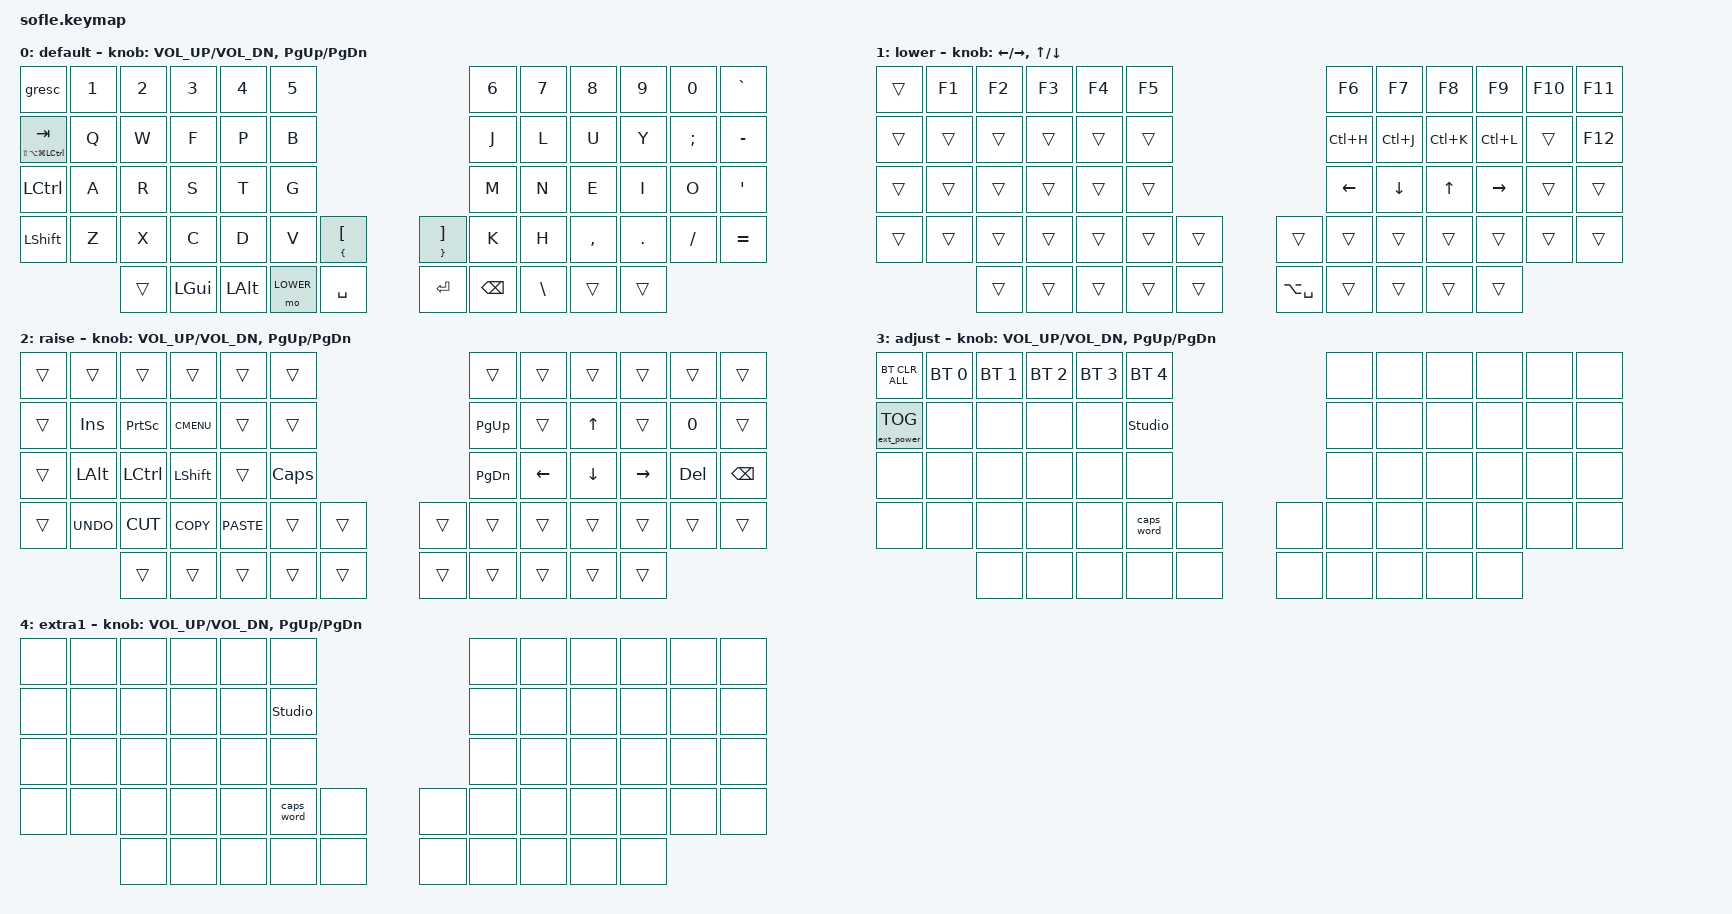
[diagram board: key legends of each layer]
/*
 * Copyright (c) 2020 The ZMK Contributors
 *
 * SPDX-License-Identifier: MIT
 */

#include <behaviors.dtsi>
#include <dt-bindings/zmk/bt.h>
#include <dt-bindings/zmk/ext_power.h>
#include <dt-bindings/zmk/keys.h>

#define BASE 0
#define LOWER 1
#define RAISE 2
#define ADJUST 3
#define extra_layer 4

/ {
    // Activate ADJUST layer by pressing raise and lower

    conditional_layers {
        compatible = "zmk,conditional-layers";

        adjust_layer {
            if-layers = <LOWER RAISE>;
            then-layer = <ADJUST>;
        };
    };

    behaviors {
        caps: caps {
            compatible = "zmk,behavior-caps-word";
            label = "CAPS";
            #binding-cells = <0>;
            continue-list = <POUND MINUS BACKSPACE UNDERSCORE>;
        };
    };

    combos { compatible = "zmk,combos"; };

    keymap {
        compatible = "zmk,keymap";

        default_layer {
            display-name = "default";

            // ------------------------------------------------------------------------------------------------------------
            // |   `   |  1  |  2  |  3   |  4   |  5   |                   |  6   |  7    |  8    |  9   |   0   |       |
            // |  ESC  |  Q  |  W  |  E   |  R   |  T   |                   |  Y   |  U    |  I    |  O   |   P   | BKSPC |
            // |  TAB  |  A  |  S  |  D   |  F   |  G   |                   |  H   |  J    |  K    |  L   |   ;   |   '   |
            // | SHIFT |  Z  |  X  |  C   |  V   |  B   |  MUTE  |  |       |  N   |  M    |  ,    |  .   |   /   | SHIFT |
            //               | GUI | ALT  | CTRL | LOWER|  ENTER |  | SPACE | RAISE| CTRL  | ALT   | GUI  |

            bindings = <
&gresc                     &kp N1  &kp N2  &kp N3        &kp N4        &kp N5                                                                   &kp N6         &kp N7         &kp N8     &kp N9      &kp N0         &kp GRAVE
&mt LS(LA(LG(LCTRL))) TAB  &kp Q   &kp W   &kp F         &kp P         &kp B                                                                    &kp J          &kp L          &kp U      &kp Y       &kp SEMICOLON  &kp MINUS
&kp LCTRL                  &kp A   &kp R   &kp S         &kp T         &kp G                                                                    &kp M          &kp N          &kp E      &kp I       &kp O          &kp SQT
&kp LEFT_SHIFT             &kp Z   &kp X   &kp C         &kp D         &kp V      &mt LEFT_BRACE LEFT_BRACKET    &mt RIGHT_BRACE RIGHT_BRACKET  &kp K          &kp H          &kp COMMA  &kp PERIOD  &kp SLASH      &kp EQUAL
                                   &trans  &kp LEFT_GUI  &kp LEFT_ALT  &mo LOWER  &kp SPACE                      &kp ENTER                      &kp BACKSPACE  &kp BACKSLASH  &trans     &trans
            >;

            sensor-bindings = <&inc_dec_kp C_VOL_UP C_VOL_DN &inc_dec_kp PG_UP PG_DN>;
        };

        lower_layer {
            display-name = "lower";

            // TODO: Some binds are waiting for shifted keycode support.
            // ------------------------------------------------------------------------------------------------------------
            // |       |  F1 |  F2 |  F3  |  F4  |  F5  |                   |  F6  |  F7   |  F8   |  F9  |  F10  |  F11  |
            // |   `   |  1  |  2  |  3   |  4   |  5   |                   |  6   |  7    |  8    |  9   |   0   |  F12  |
            // |       |  !  |  @  |  #   |  $   |  %   |                   |  ^   |  &    |  *    |  (   |   )   |   |   |
            // |       |  =  |  -  |  +   |  {   |  }   |        |  |       |  [   |  ]    |  ;    |  :   |   \   |       |
            //               |     |      |      |      |        |  |       |      |       |       |      |

            bindings = <
&trans  &kp F1  &kp F2  &kp F3  &kp F4  &kp F5                           &kp F6          &kp F7          &kp F8        &kp F9     &kp F10  &kp F11
&trans  &trans  &trans  &trans  &trans  &trans                           &kp LC(H)       &kp LC(J)       &kp LC(K)     &kp LC(L)  &trans   &kp F12
&trans  &trans  &trans  &trans  &trans  &trans                           &kp LEFT_ARROW  &kp DOWN_ARROW  &kp UP_ARROW  &kp RIGHT  &trans   &trans
&trans  &trans  &trans  &trans  &trans  &trans  &trans    &trans         &trans          &trans          &trans        &trans     &trans   &trans
                &trans  &trans  &trans  &trans  &trans    &kp LA(SPACE)  &trans          &trans          &trans        &trans
            >;

            sensor-bindings =
                <&inc_dec_kp LEFT_ARROW RIGHT_ARROW>,
                <&inc_dec_kp UP_ARROW DOWN_ARROW>;
        };

        raise_layer {
            display-name = "raise";

            // ------------------------------------------------------------------------------------------------------------
            // | BTCLR | BT1  | BT2  |  BT3  |  BT4  |  BT5 |                |      |      |       |      |       |       |
            // |       | INS  | PSCR | GUI   |       |      |                | PGUP |      |   ^   |      |       |       |
            // |       | ALT  | CTRL | SHIFT |       | CAPS |                | PGDN |   <- |   v   |  ->  |  DEL  | BKSPC |
            // |       | UNDO | CUT  | COPY  | PASTE |      |      |  |      |      |      |       |      |       |       |
            //                |      |       |       |      |      |  |      |      |      |       |      |

            bindings = <
&trans  &trans      &trans     &trans       &trans       &trans                      &trans     &trans    &trans    &trans     &trans   &trans
&trans  &kp INS     &kp PSCRN  &kp K_CMENU  &trans       &trans                      &kp PG_UP  &trans    &kp UP    &trans     &kp N0   &trans
&trans  &kp LALT    &kp LCTRL  &kp LSHFT    &trans       &kp CLCK                    &kp PG_DN  &kp LEFT  &kp DOWN  &kp RIGHT  &kp DEL  &kp BSPC
&trans  &kp K_UNDO  &kp K_CUT  &kp K_COPY   &kp K_PASTE  &trans    &trans    &trans  &trans     &trans    &trans    &trans     &trans   &trans
                    &trans     &trans       &trans       &trans    &trans    &trans  &trans     &trans    &trans    &trans
            >;

            sensor-bindings = <&inc_dec_kp C_VOL_UP C_VOL_DN &inc_dec_kp PG_UP PG_DN>;
        };

        adjust_layer {
            // ----------------------------------------------------------------------------------------------------------------------------
            // | BTCLR  |  BT1    |  BT2    |   BT3   |   BT4   |   BT5   |                  |      |      |       |      |       |       |
            // | EXTPWR | RGB_HUD | RGB_HUI | RGB_SAD | RGB_SAI | RGB_EFF |                  |      |      |       |      |       |       |
            // |        | RGB_BRD | RGB_BRI |         |         |         |                  |      |      |       |      |       |       |
            // |        |         |         |         |         |         | RGB_TOG | |      |      |      |       |      |       |       |
            //                    |         |         |         |         |         | |      |      |      |       |      |

            display-name = "adjust";
            bindings = <
&bt BT_CLR_ALL     &bt BT_SEL 0  &bt BT_SEL 1  &bt BT_SEL 2  &bt BT_SEL 3  &bt BT_SEL 4                    &none  &none  &none  &none  &none  &none
&ext_power EP_TOG  &none         &none         &none         &none         &studio_unlock                  &none  &none  &none  &none  &none  &none
&none              &none         &none         &none         &none         &none                           &none  &none  &none  &none  &none  &none
&none              &none         &none         &none         &none         &caps_word      &none    &none  &none  &none  &none  &none  &none  &none
                                 &none         &none         &none         &none           &none    &none  &none  &none  &none  &none
            >;

            sensor-bindings = <&inc_dec_kp C_VOL_UP C_VOL_DN &inc_dec_kp PG_UP PG_DN>;
        };

        extra_layer {
            // ----------------------------------------------------------------------------------------------------------------------------
            // | BTCLR  |  BT1    |  BT2    |   BT3   |   BT4   |   BT5   |                  |      |      |       |      |       |       |
            // | EXTPWR | RGB_HUD | RGB_HUI | RGB_SAD | RGB_SAI | RGB_EFF |                  |      |      |       |      |       |       |
            // |        | RGB_BRD | RGB_BRI |         |         |         |                  |      |      |       |      |       |       |
            // |        |         |         |         |         |         | RGB_TOG | |      |      |      |       |      |       |       |
            //                    |         |         |         |         |         | |      |      |      |       |      |

            display-name = "extra1";
            bindings = <
&none  &none  &none  &none  &none  &none                           &none  &none  &none  &none  &none  &none
&none  &none  &none  &none  &none  &studio_unlock                  &none  &none  &none  &none  &none  &none
&none  &none  &none  &none  &none  &none                           &none  &none  &none  &none  &none  &none
&none  &none  &none  &none  &none  &caps_word      &none    &none  &none  &none  &none  &none  &none  &none
              &none  &none  &none  &none           &none    &none  &none  &none  &none  &none
            >;

            sensor-bindings = <&inc_dec_kp C_VOL_UP C_VOL_DN &inc_dec_kp PG_UP PG_DN>;
        };
    };
};
